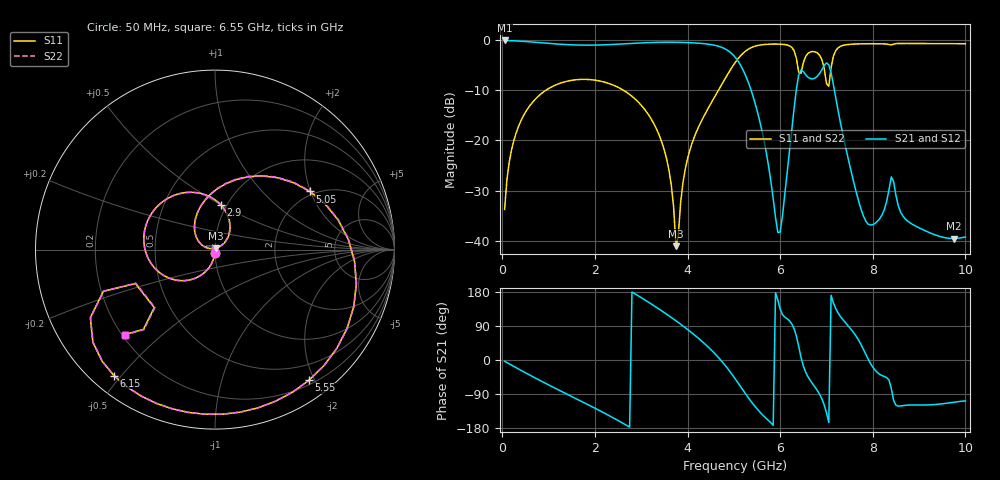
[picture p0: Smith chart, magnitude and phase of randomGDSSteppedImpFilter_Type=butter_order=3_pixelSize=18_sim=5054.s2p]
! freq	dB(S11)	phase(S11)	dB(S12)	phase(S12)
!  dB(S21)	phase(S21)	dB(S22)	phase(S22)
!S-par simulation data
#  GHz  S  DB  R 50
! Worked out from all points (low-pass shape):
!   200 points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, 50 MHz to 10 GHz, reference 50 ohm
!   highest |S21| = -0.01 dB at 50 MHz (marker M1); lowest = -39.6 dB at 9.75 GHz (marker M2)
!   |S21| within 3 dB of the highest: start of sweep to 4.995 GHz
!   lowest |S11| = -41.1 dB at 3.75 GHz (marker M3), VSWR 1.02, Z = 50.4 + j0.768 ohm
!   |S11| at or under -10 dB: start of sweep to 935.6 MHz; 2.622 GHz to 4.664 GHz (2.042 GHz wide, 56 % of centre)
!   |S22| runs from -40.2 to -0.6 dB; largest |S21 - S12| = 0
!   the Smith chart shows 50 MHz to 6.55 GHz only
!   S11 on the Smith chart (normalised r, x): 50 MHz: 1.00, -0.04; 2.9 GHz: 0.94, +0.50; 5.05 GHz: 1.88, +1.98; 5.55 GHz: 0.26, -1.92; 6.15 GHz: 0.06, -0.48; 6.55 GHz: 0.21, -0.38
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0.05  -33.79 -93.3  -0.01 -3.5  -0.01 -3.5  -33.79 -93.3
0.5  -14.36 -124.2  -0.21 -33.7  -0.21 -33.7  -14.36 -124.1
1.75  -7.78 157.9  -0.94 -111.7  -0.94 -111.7  -7.78 158.0
2.9  -11.99 82.6  -0.54 172.0  -0.54 172.0  -11.99 82.9
3.4  -19.22 45.8  -0.37 133.2  -0.37 133.2  -19.22 46.5
3.65  -28.96 32.0  -0.35 112.2  -0.35 112.2  -28.90 34.1
3.75  -41.13 60.0  -0.36 103.5  -0.36 103.5  -40.24 65.2
4  -23.63 163.9  -0.43 80.7  -0.43 80.7  -23.61 163.2
4.55  -11.85 107.9  -0.90 21.8  -0.90 21.8  -11.85 108.2
5.05  -4.16 31.6  -3.61 -53.3  -3.61 -53.3  -4.16 32.0
5.55  -0.95 -54.4  -15.78 -135.8  -15.78 -135.8  -0.95 -54.0
5.95  -0.74 -105.1  -38.39 158.5  -38.39 158.5  -0.74 -104.9
6.15  -0.91 -128.7  -26.37 109.1  -26.37 109.1  -0.92 -128.6
6.4  -6.34 -156.9  -6.90 36.4  -6.90 36.4  -6.39 -157.0
6.55  -3.21 -136.7  -6.85 -32.0  -6.85 -32.0  -3.22 -136.5
6.7  -2.21 -155.1  -7.69 -62.5  -7.69 -62.5  -2.22 -155.1
7.05  -9.17 -148.9  -4.85 -164.7  -4.85 -164.7  -9.32 -148.4
7.3  -1.19 -166.1  -16.36 115.2  -16.36 115.2  -1.20 -165.8
7.85  -0.67 153.7  -36.13 15.1  -36.13 15.1  -0.67 153.9
8.35  -0.81 127.0  -29.86 -52.9  -29.86 -52.9  -0.81 127.0
9.75  -0.65 59.4  -39.59 -111.4  -39.59 -111.4  -0.65 59.5
10  -0.67 47.4  -39.28 -107.9  -39.28 -107.9  -0.67 47.4
